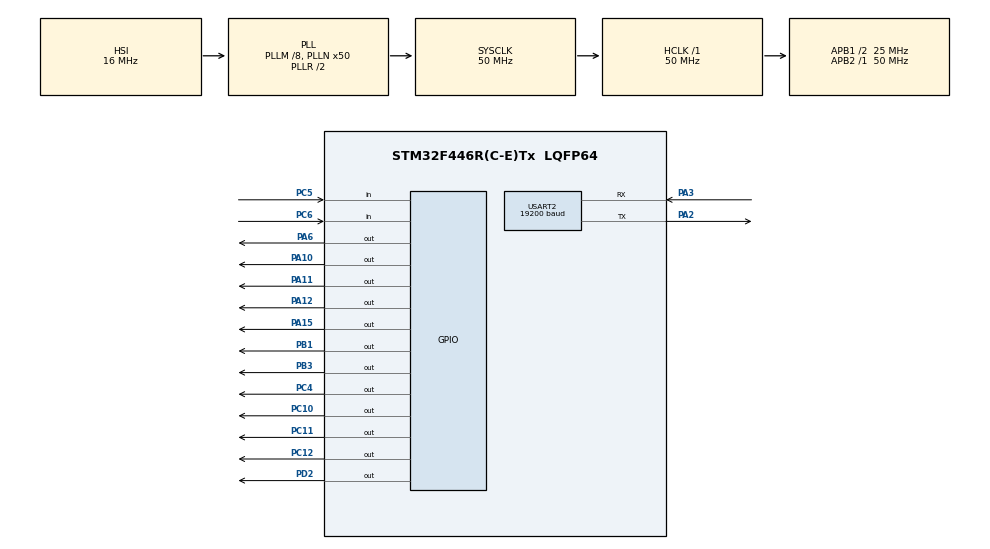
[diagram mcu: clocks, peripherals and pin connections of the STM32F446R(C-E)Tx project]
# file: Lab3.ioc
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Dma.Request0=USART2_RX
Dma.Request1=USART2_TX
Dma.USART2_RX.0.Direction=DMA_PERIPH_TO_MEMORY
Dma.USART2_RX.0.FIFOMode=DMA_FIFOMODE_DISABLE
Dma.USART2_RX.0.Instance=DMA1_Stream5
Dma.USART2_RX.0.MemDataAlignment=DMA_MDATAALIGN_BYTE
Dma.USART2_RX.0.MemInc=DMA_MINC_ENABLE
Dma.USART2_RX.0.Mode=DMA_NORMAL
Dma.USART2_RX.0.PeriphDataAlignment=DMA_PDATAALIGN_BYTE
Dma.USART2_RX.0.PeriphInc=DMA_PINC_DISABLE
Dma.USART2_RX.0.Priority=DMA_PRIORITY_VERY_HIGH
Dma.USART2_TX.1.Direction=DMA_MEMORY_TO_PERIPH
Dma.USART2_TX.1.FIFOMode=DMA_FIFOMODE_DISABLE
Dma.USART2_TX.1.Instance=DMA1_Stream6
Dma.USART2_TX.1.MemDataAlignment=DMA_MDATAALIGN_BYTE
Dma.USART2_TX.1.MemInc=DMA_MINC_ENABLE
Dma.USART2_TX.1.Mode=DMA_NORMAL
Dma.USART2_TX.1.PeriphDataAlignment=DMA_PDATAALIGN_BYTE
Dma.USART2_TX.1.PeriphInc=DMA_PINC_DISABLE
Dma.USART2_TX.1.Priority=DMA_PRIORITY_VERY_HIGH
Mcu.Family=STM32F4
Mcu.Name=STM32F446R(C-E)Tx
Mcu.Package=LQFP64
NVIC.DMA1_Stream5_IRQn=true\:0\:0\:false\:false\:true\:false\:true\:true
NVIC.DMA1_Stream6_IRQn=true\:0\:0\:false\:false\:true\:false\:true\:true
NVIC.PriorityGroup=NVIC_PRIORITYGROUP_4
PA10.Signal=GPIO_Output
PA11.Signal=GPIO_Output
PA12.Signal=GPIO_Output
PA15.Signal=GPIO_Output
PA2.Mode=Asynchronous
PA2.Signal=USART2_TX
PA3.Mode=Asynchronous
PA3.Signal=USART2_RX
PA6.Signal=GPIO_Output
PB1.Signal=GPIO_Output
PB3.Signal=GPIO_Output
PC10.Signal=GPIO_Output
PC11.Signal=GPIO_Output
PC12.Signal=GPIO_Output
PC4.Signal=GPIO_Output
PC5.Signal=GPIO_Input
PC6.Signal=GPIO_Input
PD2.Signal=GPIO_Output
PH0-OSC_IN.Mode=HSE-External-Oscillator
PH0-OSC_IN.Signal=RCC_OSC_IN
PH1-OSC_OUT.Mode=HSE-External-Oscillator
PH1-OSC_OUT.Signal=RCC_OSC_OUT
ProjectManager.HeapSize=0x200
ProjectManager.StackSize=0x400
ProjectManager.TargetToolchain=STM32CubeIDE
RCC.AHBFreq_Value=50000000
RCC.APB1CLKDivider=RCC_HCLK_DIV2
RCC.APB1Freq_Value=25000000
RCC.APB1TimFreq_Value=50000000
RCC.APB2Freq_Value=50000000
RCC.APB2TimFreq_Value=50000000
RCC.CortexFreq_Value=50000000
RCC.HCLKFreq_Value=50000000
RCC.PLLM=8
RCC.PLLN=50
RCC.SYSCLKFreq_VALUE=50000000
RCC.SYSCLKSource=RCC_SYSCLKSOURCE_PLLRCLK
RCC.USBFreq_Value=50000000
RCC.VCOOutputFreq_Value=100000000
USART2.BaudRate=19200
USART2.VirtualMode=VM_ASYNC
board=custom

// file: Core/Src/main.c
/* USER CODE BEGIN Header */
/**
  ******************************************************************************
  * @file           : main.c
  * @brief          : Main program body
  ******************************************************************************
  * @attention
  *
  * Copyright (c) 2022 STMicroelectronics.
  * All rights reserved.
  *
  * This software is licensed under terms that can be found in the LICENSE file
  * in the root directory of this software component.
  * If no LICENSE file comes with this software, it is provided AS-IS.
  *
  ******************************************************************************
  */
/* USER CODE END Header */
#include "main.h"

/* USER CODE BEGIN Includes */

#include <math.h>
#include <stdio.h>
#include <string.h>

/* USER CODE END Includes */

/* USER CODE BEGIN PD */
#define DIG4_PORT GPIOB
#define DIG4_PIN GPIO_PIN_1

#define DIG3_PORT GPIOB
#define DIG3_PIN GPIO_PIN_3

#define DIG2_PORT GPIOA
#define DIG2_PIN GPIO_PIN_10

#define DIG1_PORT GPIOC
#define DIG1_PIN GPIO_PIN_4

#define A_PORT GPIOA
#define A_PIN GPIO_PIN_6

#define B_PORT GPIOA
#define B_PIN GPIO_PIN_12

#define C_PORT GPIOA
#define C_PIN GPIO_PIN_11

#define D_PORT GPIOC
#define D_PIN GPIO_PIN_10

#define E_PORT GPIOC
#define E_PIN GPIO_PIN_11

#define F_PORT GPIOD
#define F_PIN GPIO_PIN_2

#define G_PORT GPIOC
#define G_PIN GPIO_PIN_12

#define DP_PORT GPIOA
#define DP_PIN GPIO_PIN_15

#define CODE_CLEAR 10
/* USER CODE END PD */

UART_HandleTypeDef huart2;
DMA_HandleTypeDef hdma_usart2_rx;
DMA_HandleTypeDef hdma_usart2_tx;

/* USER CODE BEGIN PV */

const uint8_t segment_codes[] = {
//abcdefgp
		0b11111100,// 0
		0b01100000, // 1
		0b11011010, // 2
		0b11110010, // 3
		0b01100110, // 4
		0b10110110, // 5
		0b00111110, // 6
		0b11100000, // 7
		0b11111110, // 8
		0b11100110, // 9
		0b00000000, // Clear (10)
		0b00000010, // Dash (11)
		};

const GPIO_TypeDef *GPIO_ports[] = {
GPIOA,
GPIOB,
GPIOC,
GPIOD, };

const uint8_t n_ports = sizeof(GPIO_ports) / sizeof(GPIO_ports[0]);

/* USER CODE END PV */

void SystemClock_Config(void);
static void MX_GPIO_Init(void);
static void MX_DMA_Init(void);
static void MX_USART2_UART_Init(void);

/* USER CODE BEGIN 0 */
void light_sticks(int a, int b, int c, int d, int e, int f, int g, int h) {
	HAL_GPIO_WritePin(A_PORT, A_PIN, a ? GPIO_PIN_RESET : GPIO_PIN_SET);
	HAL_GPIO_WritePin(B_PORT, B_PIN, b ? GPIO_PIN_RESET : GPIO_PIN_SET);
	HAL_GPIO_WritePin(C_PORT, C_PIN, c ? GPIO_PIN_RESET : GPIO_PIN_SET);
	HAL_GPIO_WritePin(D_PORT, D_PIN, d ? GPIO_PIN_RESET : GPIO_PIN_SET);
	HAL_GPIO_WritePin(E_PORT, E_PIN, e ? GPIO_PIN_RESET : GPIO_PIN_SET);
	HAL_GPIO_WritePin(F_PORT, F_PIN, f ? GPIO_PIN_RESET : GPIO_PIN_SET);
	HAL_GPIO_WritePin(G_PORT, G_PIN, g ? GPIO_PIN_RESET : GPIO_PIN_SET);
	HAL_GPIO_WritePin(DP_PORT, DP_PIN, h ? GPIO_PIN_RESET : GPIO_PIN_SET);
}

void light_position(int position) {
	HAL_GPIO_WritePin(DIG1_PORT, DIG1_PIN,
			(position == 1) ? GPIO_PIN_RESET : GPIO_PIN_SET);
	HAL_GPIO_WritePin(DIG2_PORT, DIG2_PIN,
			(position == 2) ? GPIO_PIN_RESET : GPIO_PIN_SET);
	HAL_GPIO_WritePin(DIG3_PORT, DIG3_PIN,
			(position == 3) ? GPIO_PIN_RESET : GPIO_PIN_SET);
	HAL_GPIO_WritePin(DIG4_PORT, DIG4_PIN,
			(position == 4) ? GPIO_PIN_RESET : GPIO_PIN_SET);
}

void light_digit(int position, int digit) {

	light_position(position);
	switch (digit) {
	case 0:
		light_sticks(1, 1, 1, 1, 1, 1, 0, 0);
		break;
	case 1:
		light_sticks(0, 1, 1, 0, 0, 0, 0, 0);
		break;
	case 2:
		light_sticks(1, 1, 0, 1, 1, 0, 1, 0);
		break;
	case 3:
		light_sticks(1, 1, 1, 1, 0, 0, 1, 0);
		break;
	case 4:
		light_sticks(0, 1, 1, 0, 0, 1, 1, 0);
		break;
	case 5:
		light_sticks(1, 0, 1, 1, 0, 1, 1, 0);
		break;
	case 6:
		light_sticks(1, 0, 1, 1, 1, 1, 1, 0);
		break;
	case 7:
		light_sticks(1, 1, 1, 0, 0, 0, 0, 0);
		break;
	case 8:
		light_sticks(1, 1, 1, 1, 1, 1, 1, 0);
		break;
	case 9:
		light_sticks(1, 1, 1, 1, 0, 1, 1, 0);
		break;
	default:
		light_sticks(0, 0, 0, 0, 0, 0, 0, 0);
		break;
	}

}

void light_number(int* number) {
	light_digit(1, *number % 10);
	HAL_Delay(1);
	light_digit(2, (*number / 10) % 10);
	HAL_Delay(1);
	light_digit(3, (*number / 100) % 10);
	HAL_Delay(1);
	light_digit(4, (*number / 1000) % 10);
	HAL_Delay(1);
}

void light_number_sin(int* number) {
	float sin_number = (float)sin((double)*number);

	light_digit(1, (int)floor(fabs(sin_number) * 100.0) % 10);
	HAL_Delay(1);
	light_digit(2, (int)floor(fabs(sin_number) * 10.0) % 10);
	HAL_Delay(1);
	if (fabs(sin_number) == 1) {
		light_position(3); light_sticks(0, 1, 1, 0, 0, 0, 0, 1);
	} else {
		light_position(3); light_sticks(1, 1, 1, 1, 1, 1, 0, 1);
	}
	HAL_Delay(1);
	light_position(4); light_sticks(0, 0, 0, 0, 0, 0, sin_number < .0, 0);
	HAL_Delay(1);
}

unsigned char buf = 0;
char sendbuf[16] = {0};
uint8_t is_receiving_number = 0;
int number = 0;
void HAL_UART_RxCpltCallback(UART_HandleTypeDef *huart) {
	if (buf == 'b') {
		number = 0;
		is_receiving_number = 1;
		return;
	}
	if (buf == 'e') {
		HAL_UART_AbortTransmit(&huart2);
		memset(sendbuf, 0, sizeof(sendbuf));
		sprintf(sendbuf, "%.2f\n", sin(number));
		HAL_UART_Transmit_DMA(&huart2, (uint8_t*)sendbuf, strlen(sendbuf));
		is_receiving_number = 0;
		return;
	}
	if (is_receiving_number) {
		number = number * 10 + (buf - '0');
	}
}
/* USER CODE END 0 */

int main(void)
{

  /* MCU Configuration--------------------------------------------------------*/

  /* Reset of all peripherals, Initializes the Flash interface and the Systick. */
  HAL_Init();

  /* Configure the system clock */
  SystemClock_Config();

  /* Initialize all configured peripherals */
  MX_GPIO_Init();
  MX_DMA_Init();
  MX_USART2_UART_Init();

  /* Infinite loop */
  while (1)
  {

    /* USER CODE BEGIN 3 */
	HAL_UART_Receive_DMA(&huart2, &buf, 1);
	light_number_sin(&number);
  }
  /* USER CODE END 3 */
}

void SystemClock_Config(void)
{
  RCC_OscInitTypeDef RCC_OscInitStruct = {0};
  RCC_ClkInitTypeDef RCC_ClkInitStruct = {0};

  /** Configure the main internal regulator output voltage
  */
  __HAL_RCC_PWR_CLK_ENABLE();
  __HAL_PWR_VOLTAGESCALING_CONFIG(PWR_REGULATOR_VOLTAGE_SCALE3);

  /** Initializes the RCC Oscillators according to the specified parameters
  * in the RCC_OscInitTypeDef structure.
  */
  RCC_OscInitStruct.OscillatorType = RCC_OSCILLATORTYPE_HSI;
  RCC_OscInitStruct.HSIState = RCC_HSI_ON;
  RCC_OscInitStruct.HSICalibrationValue = RCC_HSICALIBRATION_DEFAULT;
  RCC_OscInitStruct.PLL.PLLState = RCC_PLL_ON;
  RCC_OscInitStruct.PLL.PLLSource = RCC_PLLSOURCE_HSI;
  RCC_OscInitStruct.PLL.PLLM = 8;
  RCC_OscInitStruct.PLL.PLLN = 50;
  RCC_OscInitStruct.PLL.PLLP = RCC_PLLP_DIV2;
  RCC_OscInitStruct.PLL.PLLQ = 2;
  RCC_OscInitStruct.PLL.PLLR = 2;
  if (HAL_RCC_OscConfig(&RCC_OscInitStruct) != HAL_OK)
  {
    Error_Handler();
  }

  /** Initializes the CPU, AHB and APB buses clocks
  */
  RCC_ClkInitStruct.ClockType = RCC_CLOCKTYPE_HCLK|RCC_CLOCKTYPE_SYSCLK
                              |RCC_CLOCKTYPE_PCLK1|RCC_CLOCKTYPE_PCLK2;
  RCC_ClkInitStruct.SYSCLKSource = RCC_SYSCLKSOURCE_PLLRCLK;
  RCC_ClkInitStruct.AHBCLKDivider = RCC_SYSCLK_DIV1;
  RCC_ClkInitStruct.APB1CLKDivider = RCC_HCLK_DIV2;
  RCC_ClkInitStruct.APB2CLKDivider = RCC_HCLK_DIV1;

  if (HAL_RCC_ClockConfig(&RCC_ClkInitStruct, FLASH_LATENCY_1) != HAL_OK)
  {
    Error_Handler();
  }
}

static void MX_USART2_UART_Init(void)
{

  huart2.Instance = USART2;
  huart2.Init.BaudRate = 19200;
  huart2.Init.WordLength = UART_WORDLENGTH_8B;
  huart2.Init.StopBits = UART_STOPBITS_1;
  huart2.Init.Parity = UART_PARITY_NONE;
  huart2.Init.Mode = UART_MODE_TX_RX;
  huart2.Init.HwFlowCtl = UART_HWCONTROL_NONE;
  huart2.Init.OverSampling = UART_OVERSAMPLING_16;
  if (HAL_UART_Init(&huart2) != HAL_OK)
  {
    Error_Handler();
  }

}

static void MX_DMA_Init(void)
{

  /* DMA controller clock enable */
  __HAL_RCC_DMA1_CLK_ENABLE();

  /* DMA interrupt init */
  /* DMA1_Stream5_IRQn interrupt configuration */
  HAL_NVIC_SetPriority(DMA1_Stream5_IRQn, 0, 0);
  HAL_NVIC_EnableIRQ(DMA1_Stream5_IRQn);
  /* DMA1_Stream6_IRQn interrupt configuration */
  HAL_NVIC_SetPriority(DMA1_Stream6_IRQn, 0, 0);
  HAL_NVIC_EnableIRQ(DMA1_Stream6_IRQn);

}

static void MX_GPIO_Init(void)
{
  GPIO_InitTypeDef GPIO_InitStruct = {0};

  /* GPIO Ports Clock Enable */
  __HAL_RCC_GPIOH_CLK_ENABLE();
  __HAL_RCC_GPIOA_CLK_ENABLE();
  __HAL_RCC_GPIOC_CLK_ENABLE();
  __HAL_RCC_GPIOB_CLK_ENABLE();
  __HAL_RCC_GPIOD_CLK_ENABLE();

  /*Configure GPIO pin Output Level */
  HAL_GPIO_WritePin(GPIOA, GPIO_PIN_6|GPIO_PIN_10|GPIO_PIN_11|GPIO_PIN_12
                          |GPIO_PIN_15, GPIO_PIN_RESET);

  /*Configure GPIO pin Output Level */
  HAL_GPIO_WritePin(GPIOC, GPIO_PIN_4|GPIO_PIN_10|GPIO_PIN_11|GPIO_PIN_12, GPIO_PIN_RESET);

  /*Configure GPIO pin Output Level */
  HAL_GPIO_WritePin(GPIOB, GPIO_PIN_1|GPIO_PIN_3, GPIO_PIN_RESET);

  /*Configure GPIO pin Output Level */
  HAL_GPIO_WritePin(GPIOD, GPIO_PIN_2, GPIO_PIN_RESET);

  /*Configure GPIO pins : PA6 PA10 PA11 PA12
                           PA15 */
  GPIO_InitStruct.Pin = GPIO_PIN_6|GPIO_PIN_10|GPIO_PIN_11|GPIO_PIN_12
                          |GPIO_PIN_15;
  GPIO_InitStruct.Mode = GPIO_MODE_OUTPUT_PP;
  GPIO_InitStruct.Pull = GPIO_NOPULL;
  GPIO_InitStruct.Speed = GPIO_SPEED_FREQ_LOW;
  HAL_GPIO_Init(GPIOA, &GPIO_InitStruct);

  /*Configure GPIO pins : PC4 PC10 PC11 PC12 */
  GPIO_InitStruct.Pin = GPIO_PIN_4|GPIO_PIN_10|GPIO_PIN_11|GPIO_PIN_12;
  GPIO_InitStruct.Mode = GPIO_MODE_OUTPUT_PP;
  GPIO_InitStruct.Pull = GPIO_NOPULL;
  GPIO_InitStruct.Speed = GPIO_SPEED_FREQ_LOW;
  HAL_GPIO_Init(GPIOC, &GPIO_InitStruct);

  /*Configure GPIO pins : PC5 PC6 */
  GPIO_InitStruct.Pin = GPIO_PIN_5|GPIO_PIN_6;
  GPIO_InitStruct.Mode = GPIO_MODE_INPUT;
  GPIO_InitStruct.Pull = GPIO_NOPULL;
  HAL_GPIO_Init(GPIOC, &GPIO_InitStruct);

  /*Configure GPIO pins : PB1 PB3 */
  GPIO_InitStruct.Pin = GPIO_PIN_1|GPIO_PIN_3;
  GPIO_InitStruct.Mode = GPIO_MODE_OUTPUT_PP;
  GPIO_InitStruct.Pull = GPIO_NOPULL;
  GPIO_InitStruct.Speed = GPIO_SPEED_FREQ_LOW;
  HAL_GPIO_Init(GPIOB, &GPIO_InitStruct);

  /*Configure GPIO pin : PD2 */
  GPIO_InitStruct.Pin = GPIO_PIN_2;
  GPIO_InitStruct.Mode = GPIO_MODE_OUTPUT_PP;
  GPIO_InitStruct.Pull = GPIO_NOPULL;
  GPIO_InitStruct.Speed = GPIO_SPEED_FREQ_LOW;
  HAL_GPIO_Init(GPIOD, &GPIO_InitStruct);

}

void Error_Handler(void)
{
  __disable_irq();
  while (1)
  {
  }
}
